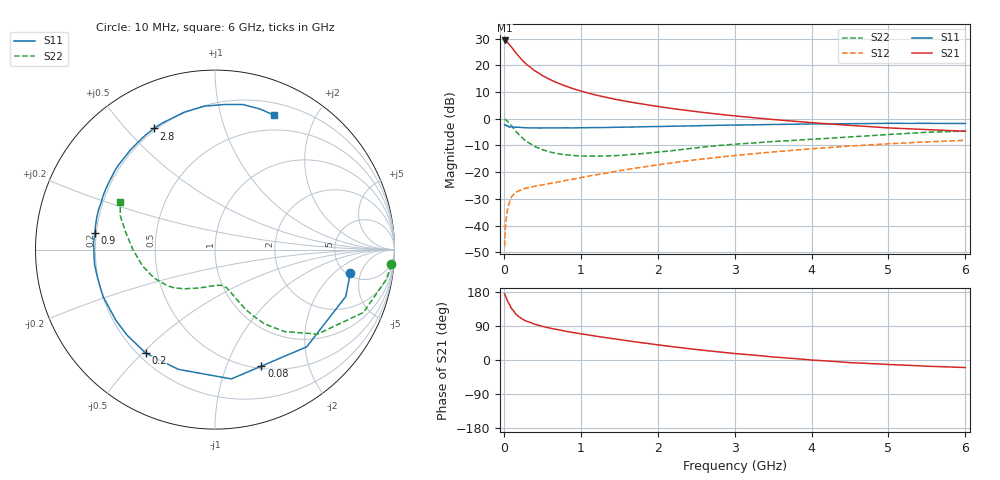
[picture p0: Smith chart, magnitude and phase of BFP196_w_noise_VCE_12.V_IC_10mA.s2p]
! Infineon Technologies  Discrete & RF Semiconductors
! BFP196
! VCE =  12. V,  IC =  10 mA
! Common Emitter S-Parameters:  Jan 2017
# GHz  S  MA  R  50
!  f  S11  S21  S12  S22
! GHz  MAG  ANG  MAG  ANG  MAG  ANG  MAG  ANG
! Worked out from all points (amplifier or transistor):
!   77 points, 10 MHz to 6 GHz, reference 50 ohm
!   highest |S21| = 29.4 dB at 10 MHz (marker M1)
!   |S21| within 3 dB of that: start of sweep to 113.6 MHz
!   unconditionally stable (mu >= 1): 1.02 GHz to 2.348 GHz
!   at 130 MHz: K = 0.23, MSG = 27.0 dB, |S12| = -28.3 dB
!   at 2.2 GHz: K = 1.02, MAG = 9.3 dB, |S12| = -16.5 dB
!   at 6 GHz: K = 0.90, MSG = 1.7 dB, |S12| = -8.1 dB
!   lowest NFmin = 0.99 dB at 450 MHz
!   S11 on the Smith chart (normalised r, x): 10 MHz: 5.31, -3.36; 80 MHz: 0.53, -1.34; 200 MHz: 0.23, -0.51; 900 MHz: 0.19, +0.06; 2.8 GHz: 0.19, +0.60; 6 GHz: 0.33, +1.49
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0.01  0.7646 -9.9  29.42 174.5  0.0041 81.0  0.9854 -4.8
0.02  0.7741 -19.7  29.36 169.4  0.009 77.4  0.9694 -9.8
0.05  0.7446 -46.7  26.98 154.5  0.0209 66.1  0.8978 -23.0
0.08  0.6988 -68.3  23.75 144.0  0.0289 57.5  0.7942 -32.2
0.1  0.7262 -82.8  22.14 135.5  0.0345 54.1  0.739 -39.6
0.15  0.6978 -107.0  17.66 122.5  0.0416 45.0  0.5975 -49.8
0.2  0.694 -123.7  14.45 113.6  0.045 40.6  0.4975 -56.3
0.25  0.6835 -135.8  12.1 106.8  0.0485 37.8  0.4249 -60.1
0.3  0.6783 -144.5  10.34 102.0  0.0504 36.5  0.3714 -63.0
0.4  0.6762 -157.1  7.995 94.4  0.0544 36.9  0.3041 -66.4
0.5  0.6732 -166.0  6.476 88.8  0.0578 37.9  0.2644 -68.9
0.6  0.6761 -172.9  5.454 84.1  0.0616 40.0  0.2388 -71.1
0.7  0.6747 -178.3  4.692 80.1  0.065 41.7  0.2222 -73.1
0.9  0.6756 172.3  3.671 72.5  0.0739 45.1  0.2057 -78.4
1.1  0.6828 164.6  3.032 66.0  0.0841 48.1  0.2001 -84.1
1.5  0.6956 151.3  2.248 54.0  0.1062 50.8  0.2059 -97.8
2.1  0.7212 133.5  1.627 37.5  0.1435 50.9  0.2455 -118.7
2.8  0.7562 116.8  1.218 21.2  0.1911 46.8  0.3162 -138.2
3.1  0.7663 110.4  1.099 15.5  0.2116 44.0  0.3412 -145.9
4.1  0.802 92.4  0.828 -1.3  0.2808 33.9  0.4215 -170.2
5.1  0.822 77.7  0.666 -12.7  0.3458 21.8  0.5176 167.0
6  0.818 66.1  0.584 -19.9  0.3954 10.8  0.5913 153.4
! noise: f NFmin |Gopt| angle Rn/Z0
0.45  0.99  0.35  147  0.06
0.9  1.29  0.5  174  0.05
1.9  2.4  0.7  -139  0.25
2.4  2.9  0.73  -123  0.68
